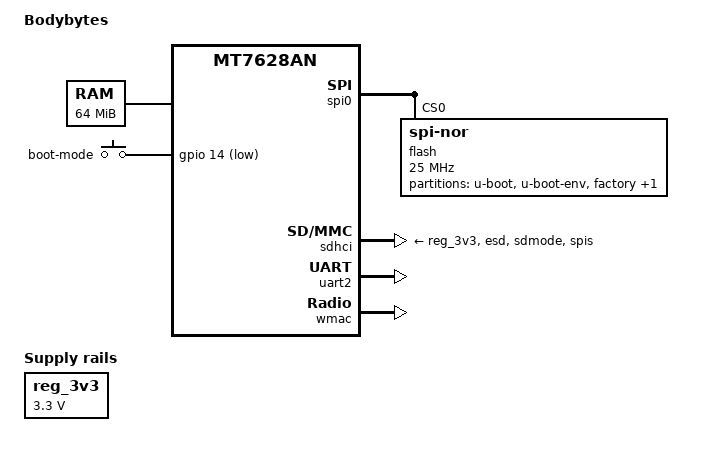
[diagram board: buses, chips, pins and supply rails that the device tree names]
// SPDX-License-Identifier: GPL-2.0-or-later OR MIT
//
// OpenWRT device tree for the Bodybytes board (MT7628AN).

#include "mt7628an.dtsi"

#include <dt-bindings/gpio/gpio.h>
#include <dt-bindings/input/input.h>

/ {
	compatible = "bodybytes,bodybytes", "mediatek,mt7628an-soc";
	model = "Bodybytes";

	memory@0 { 
		device_type = "memory"; 
		reg = <0x00000000 0x04000000>;
	};

	chosen {
		bootargs = "console=ttyS0,115200";
	};
};

/*
 * SPI NOR: W25Q512JV, 64 MB, CS0, 25 MHz.
 * NOR holds only the bootloader and WiFi EEPROM; the OS lives on eMMC.
 */
&spi0 {
	status = "okay";

	flash@0 {
		compatible = "jedec,spi-nor";
		reg = <0>;
		spi-max-frequency = <25000000>;

		partitions {
			compatible = "fixed-partitions";
			#address-cells = <1>;
			#size-cells = <1>;

			partition@0 {
				label = "u-boot";
				reg = <0x0 0x40000>;
				read-only;
			};

			partition@40000 {
				label = "u-boot-env";
				reg = <0x40000 0x10000>;
				read-only;
			};

			factory: partition@50000 {
				label = "factory";
				reg = <0x50000 0x10000>;
				read-only;

				nvmem-layout {
					compatible = "fixed-layout";
					#address-cells = <1>;
					#size-cells = <1>;

					eeprom_factory_0: eeprom@0 {
						reg = <0x0 0x400>;
					};
				};
			};

			partition@60000 {
				label = "recovery";
				reg = <0x60000 0x3fa0000>;
				read-only;
			};
		};
	};
};

&pinctrl {
	/*
	 * ephy-digital: sets AGPIO_CFG EPHY_GPIO_AIO_EN[4:1]=0xf so all
	 * MDI P1-P4 pads operate as digital signals.  Required for:
	 *   - SDXC on MDI P3/P4 (sdxc_iot_mode)
	 *   - UART2 on MDI_P2 pads (UART2_MODE=0 from uart2_pins in dtsi)
	 */
	ephy-digital;

	/*
	 * sdxc_iot_mode: AGPIO_CFG ESD bit -> iot (routes SDXC to EPHY pads),
	 * GPIO_MODE SDMODE -> sdxc.
	 */
	sdxc_iot_mode: sdxc_iot_mode {
		esd {
			groups = "esd";
			function = "iot";
		};

		sdxc {
			groups = "sdmode";
			function = "sdxc";
		};
	};

	/*
	 * mdi_p1_gpio: SPIS_MODE=gpio -> MDI P1 pads become GPIO#14-17.
	 * Required so GPIO#14 (MDI_TP_P1) is readable as the boot-mode key.
	 */
	mdi_p1_gpio: mdi_p1_gpio {
		spis_gpio {
			groups = "spis";
			function = "gpio";
		};
	};
};

/ {
	reg_3v3: regulator-3v3 {
		compatible = "regulator-fixed";
		regulator-name = "3v3";
		regulator-min-microvolt = <3300000>;
		regulator-max-microvolt = <3300000>;
		regulator-always-on;
	};

	/*
	 * Boot mode selector: TI DRV5032FCDBZT hall-effect sensor on MDI_TP_P1
	 * (SoC pin 43, GPIO#14, active-low).  Low = magnet present = recovery
	 * boot (already selected by U-Boot before Linux starts).  Exposed here
	 * so userspace can read current physical state via /dev/input/eventN.
	 */
	keys {
		compatible = "gpio-keys";

		boot-mode {
			label = "boot-mode";
			linux,code = <BTN_0>;
			gpios = <&gpio 14 GPIO_ACTIVE_LOW>;
		};
	};
};

/*
 * SD card: removable, connected on EPHY MDI P3/P4 pads via sdxc_iot_mode.
 * mediatek,cd-poll enables kernel polling for card insertion/removal.
 */
&sdhci {
	status = "okay";

	vmmc-supply = <&reg_3v3>;
	vqmmc-supply = <&reg_3v3>;
	no-1-8-v;

	pinctrl-0 = <&sdxc_iot_mode &mdi_p1_gpio>;

	mediatek,cd-poll;
};

&uartlite {
	status = "disabled";
};

&uart2 {
	status = "okay";
};

&ethernet {
	status = "disabled";
};

&esw {
	status = "disabled";
};

&wmac {
	status = "okay";

	nvmem-cells = <&eeprom_factory_0>;
	nvmem-cell-names = "eeprom";

	/*
	 * Merge on-chip eFuse RF calibration into the external EEPROM.
	 * The eFuse (burned by MediaTek at wafer test) provides per-chip
	 * TX power, RSSI offsets, and crystal trim. Without this, a custom
	 * EEPROM with only a MAC address set would have zeroed RF fields
	 * and the radio would use uncalibrated defaults.
	 * If the external EEPROM is erased/invalid, the driver ignores this
	 * property and copies the eFuse wholesale instead.
	 */
	mediatek,eeprom-merge-otp;
};
